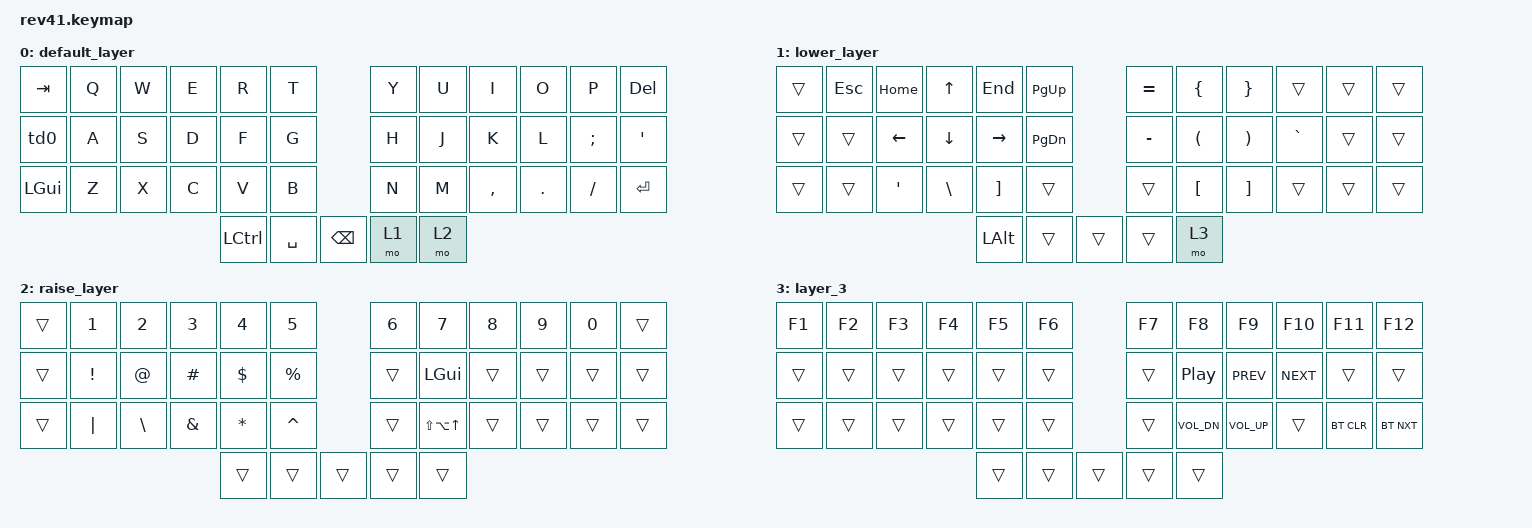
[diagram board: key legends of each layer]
/*
 * Copyright (c) 2020 The ZMK Contributors
 *
 * SPDX-License-Identifier: MIT
 */

#include <behaviors.dtsi>
#include <dt-bindings/zmk/keys.h>
#include <dt-bindings/zmk/bt.h>
#include <dt-bindings/zmk/rgb.h>

&mt {
        tapping-term-ms = <400>;
};

/ {
    behaviors {
        td0: tap_dance_0 {
            compatible = "zmk,behavior-tap-dance";
            display-name = "TAP_DANCE_0";
            #binding-cells = <0>;
            tapping-term-ms = <150>;
            bindings = <&kp LSHIFT>, <&kp CAPS>;
        };
    };
        

    keymap {
        compatible = "zmk,keymap";

        default_layer {
            bindings = <
                &kp TAB   &kp Q  &kp W  &kp E    &kp R      &kp T                &kp Y  &kp U   &kp I     &kp O    &kp P     &kp DEL
                &td0      &kp A  &kp S  &kp D    &kp F      &kp G                &kp H  &kp J   &kp K     &kp L    &kp SEMI  &kp SQT
                &kp LGUI  &kp Z  &kp X  &kp C    &kp V      &kp B                &kp N  &kp M   &kp COMMA &kp DOT  &kp FSLH  &kp ENTER
                                                 &kp LCTRL  &kp SPACE  &kp BSPC  &mo 1  &mo 2
            >;
        };

        lower_layer {
            bindings = <
                &trans  &kp ESC  &kp HOME  &kp UP    &kp END    &kp PG_UP               &kp EQUAL  &kp LBRC   &kp RBRC   &trans     &trans  &trans
                &trans  &trans   &kp LEFT  &kp DOWN  &kp RIGHT  &kp PAGE_DOWN           &kp MINUS  &kp LPAR   &kp RPAR   &kp GRAVE  &trans  &trans
                &trans  &trans   &kp SQT   &kp BSLH  &kp RBKT   &trans                  &trans     &kp LBKT   &kp RBKT   &trans     &trans  &trans    
                                                     &kp LALT   &trans        &trans    &trans     &mo 3 
            >;
        };

        raise_layer {
            bindings = <
                &trans   &kp N1    &kp N2    &kp N3     &kp N4    &kp N5             &kp N6   &kp N7          &kp N8   &kp N9  &kp N0  &trans
                &trans   &kp EXCL  &kp AT    &kp HASH   &kp DLLR  &kp PRCNT          &trans   &kp LGUI        &trans   &trans  &trans  &trans  
                &trans   &kp PIPE  &kp BSLH  &kp AMPS   &kp STAR  &kp CARET          &trans   &kp LS(LA(UP))  &trans   &trans  &trans  &trans
                                                        &trans    &trans    &trans   &trans   &trans 
            >;
        };

        layer_3 {
            bindings = <
                &kp F1   &kp F2  &kp F3    &kp F4   &kp F5   &kp F6          &kp F7   &kp F8        &kp F9        &kp F10     &kp F11     &kp F12
                &trans   &trans  &trans  &trans     &trans   &trans          &trans   &kp C_PP      &kp C_PREV    &kp C_NEXT  &trans      &trans
                &trans   &trans  &trans  &trans     &trans   &trans          &trans   &kp C_VOL_DN  &kp C_VOL_UP  &trans      &bt BT_CLR  &bt BT_NXT
                                                    &trans   &trans  &trans  &trans   &trans
            >;
        };
    };
};
